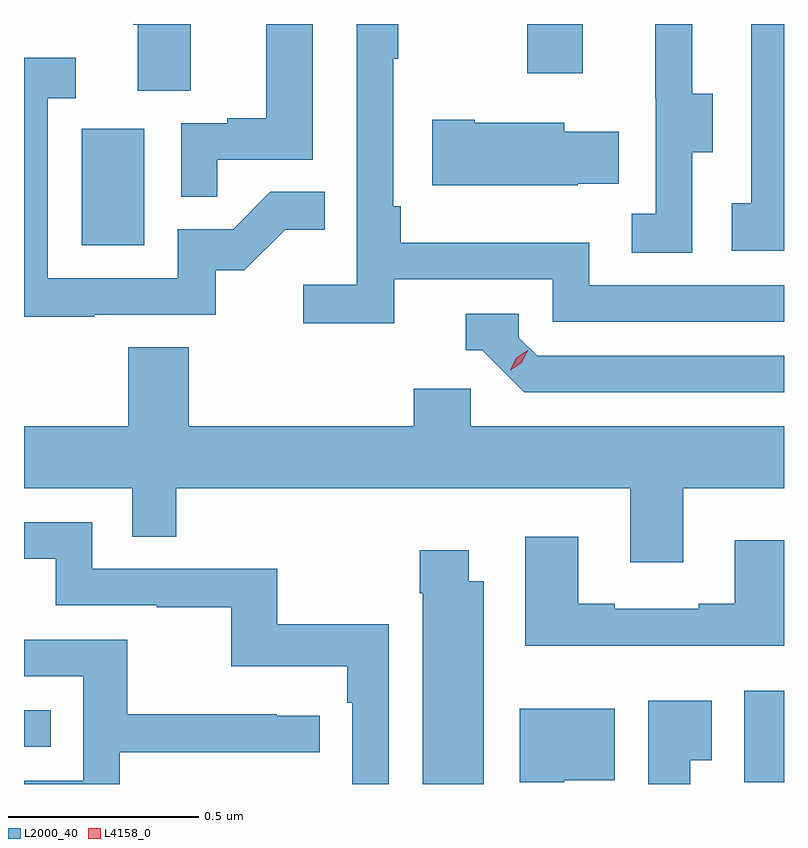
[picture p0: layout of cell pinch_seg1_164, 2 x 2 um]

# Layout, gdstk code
import gdstk
lib = gdstk.Library(unit=1e-6, precision=1e-09)
def R(c, l, rs):  # rectangles x0, y0, x1, y1
    for r in rs: c.add(gdstk.rectangle(r[:2], r[2:], *l))
def P(c, l, *ps):  # polygons
    for p in ps: c.add(gdstk.Polygon(p, *l))
L2000_40 = (2000, 40)
L4158_0 = (4158, 0)

pinch_seg1_164 = lib.new_cell('pinch_seg1_164')
R(pinch_seg1_164, L2000_40, [(1134.983,542.966,1135.088,543.208), (1133.088,543.06,1133.159,543.156), (1133.24,544.38,1133.404,544.687), (1134.412,544.833,1134.559,544.962)])
P(pinch_seg1_164, L2000_40, [(1133.527,544.962),(1133.375,544.962),(1133.375,544.96),(1133.387,544.96),(1133.387,544.786),(1133.527,544.786)],
  [(1135.088,544.962),(1135.002,544.962),(1135.002,544.49),(1134.951,544.49),(1134.951,544.365),(1135.088,544.365)],
  [(1133.597,544.605),(1133.848,544.605),(1133.848,544.962),(1133.726,544.962),(1133.726,544.714),(1133.623,544.714),(1133.623,544.701),(1133.502,544.701),(1133.502,544.507),(1133.597,544.507)],
  [(1134.846,544.624),(1134.901,544.624),(1134.901,544.779),(1134.847,544.779),(1134.847,544.962),(1134.749,544.962),(1134.749,544.767),(1134.75,544.767),(1134.75,544.463),(1134.687,544.463),(1134.687,544.36),(1134.846,544.36)],
  [(1134.062,544.29),(1134.48,544.29),(1134.48,544.179),(1135.088,544.179),(1135.088,544.275),(1134.576,544.275),(1134.576,544.387),(1134.08,544.387),(1134.08,544.483),(1134.06,544.483),(1134.06,544.871),(1134.073,544.871),(1134.073,544.962),(1133.964,544.962),(1133.964,544.276),(1133.823,544.276),(1133.823,544.174),(1134.062,544.174)],
  [(1133.273,544.197),(1133.592,544.197),(1133.592,544.314),(1133.668,544.314),(1133.775,544.421),(1133.879,544.421),(1133.879,544.52),(1133.736,544.52),(1133.638,544.422),(1133.493,544.422),(1133.493,544.293),(1133.151,544.293),(1133.151,544.767),(1133.224,544.767),(1133.224,544.873),(1133.088,544.873),(1133.088,544.192),(1133.273,544.192)],
  [(1134.545,544.541),(1134.653,544.541),(1134.653,544.678),(1134.51,544.678),(1134.51,544.702),(1134.274,544.702),(1134.274,544.71),(1134.162,544.71),(1134.162,544.538),(1134.545,544.538)],
  [(1135.088,544.089),(1134.438,544.089),(1134.39,544.137),(1134.39,544.2),(1134.251,544.2),(1134.251,544.104),(1134.294,544.104),(1134.405,543.993),(1135.088,543.993)],
  [(1134.823,543.74),(1135.088,543.74),(1135.088,543.904),(1134.264,543.904),(1134.264,544.002),(1134.113,544.002),(1134.113,543.904),(1133.522,543.904),(1133.522,544.112),(1133.362,544.112),(1133.362,543.904),(1133.088,543.904),(1133.088,543.74),(1133.373,543.74),(1133.373,543.613),(1133.489,543.613),(1133.489,543.74),(1134.683,543.74),(1134.683,543.546),(1134.823,543.546)],
  [(1134.048,543.382),(1133.755,543.382),(1133.755,543.528),(1133.268,543.528),(1133.268,543.651),(1133.088,543.651),(1133.088,543.555),(1133.172,543.555),(1133.172,543.432),(1133.437,543.432),(1133.437,543.427),(1133.634,543.427),(1133.634,543.272),(1133.939,543.272),(1133.939,543.176),(1133.952,543.176),(1133.952,542.962),(1134.048,542.962)],
  [(1135.088,543.604),(1134.959,543.604),(1134.959,543.436),(1134.863,543.436),(1134.863,543.423),(1134.643,543.423),(1134.643,543.436),(1134.547,543.436),(1134.547,543.613),(1134.407,543.613),(1134.407,543.326),(1135.088,543.326)],
  [(1134.298,543.496),(1134.259,543.496),(1134.259,543.577),(1134.13,543.577),(1134.13,543.464),(1134.137,543.464),(1134.137,542.962),(1134.298,542.962)],
  [(1133.34,543.045),(1133.866,543.045),(1133.866,543.141),(1133.753,543.141),(1133.753,543.146),(1133.36,543.146),(1133.36,543.342),(1133.088,543.342),(1133.088,543.246),(1133.244,543.246),(1133.244,542.97),(1133.088,542.97),(1133.088,542.962),(1133.34,542.962)],
  [(1134.841,543.025),(1134.898,543.025),(1134.898,543.181),(1134.731,543.181),(1134.731,542.962),(1134.841,542.962)],
  [(1134.51,542.972),(1134.643,542.972),(1134.643,543.16),(1134.392,543.16),(1134.392,542.966),(1134.51,542.966)])
P(pinch_seg1_164, L4158_0, [(1134.367,544.051),(1134.367,544.051),(1134.383,544.084),(1134.414,544.103),(1134.414,544.103),(1134.414,544.103),(1134.398,544.07),(1134.367,544.051)])

lib.write_gds('pinch_seg1_164.gds')
